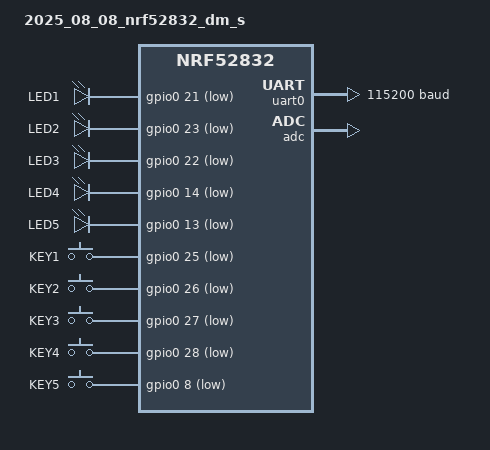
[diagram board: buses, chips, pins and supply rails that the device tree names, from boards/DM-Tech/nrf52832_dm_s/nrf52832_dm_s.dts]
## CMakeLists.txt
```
#
# Copyright (c) 2016 Intel Corporation
#
# SPDX-License-Identifier: Apache-2.0
#

cmake_minimum_required(VERSION 3.20.0)
set(BOARD_ROOT ${CMAKE_CURRENT_LIST_DIR})
find_package(Zephyr REQUIRED HINTS $ENV{ZEPHYR_BASE})
project(nrf_connect_sdk_fundamentals)

target_include_directories(app PRIVATE ${CMAKE_CURRENT_SOURCE_DIR}/include)
FILE(GLOB app_sources src/*.c)
target_sources(app PRIVATE ${app_sources})
zephyr_library_sources(Kconfig)
```

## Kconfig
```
#
# Copyright (c) 2020 Nordic Semiconductor
#
# SPDX-License-Identifier: LicenseRef-Nordic-5-Clause
#

source "Kconfig.zephyr"

menu "Enhanced ShockBurst: Transmitter"

config ESB_PTX_APP_LOG_LEVEL
	int "Log level for the ESB PTX sample"
	default 4

endmenu

menu "Custom SAADC Modes"

config HALL_MODE
    bool "Enable Hall sensor mode"
    default n
    help
      Enable this to use Hall_L and Hall_R channels for SAADC.

config CAN_MODE
    bool "Enable CAN sensor mode"
    default n
    help
      Enable this to use Can_L and Can_R channels for SAADC.

config EMG_MODE
    bool "Enable EMG sensor mode"
    default n
    help
      Enable this to use Sequence, Tibial Muscle, Gastrocnemius Muscle channels for SPI DRDY.

endmenu


choice EMG_CHANNEL_MODE
    prompt "EMG channel configuration"
    depends on EMG_MODE
    default EMG_UNILATERAL

config EMG_UNILATERAL
    bool "Unilateral EMG (ADS1294 Ch1 and Ch2)"

config EMG_BILATERAL
    bool "Bilateral EMG (ADS1294 Ch1 through Ch4)"

endchoice
```

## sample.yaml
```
sample:
  name: nRF Connect SDK Fundamentals Course - Lesson 2 Exercise 1 Solution
  
common: 
    sysbuild: true
    build_only: true
    integration_platforms: 
      - nrf52dk/nrf52832
      - nrf52833dk/nrf52833
      - nrf52840dk/nrf52840
      - nrf9160dk/nrf9160/ns
      - nrf9161dk/nrf9161/ns
      - nrf9151dk/nrf9151/ns
      - nrf5340dk/nrf5340/cpuapp
      - nrf5340dk/nrf5340/cpuapp/ns
      - nrf54l15dk/nrf54l15/cpuapp
      - nrf54l15dk/nrf54l15/cpuapp/ns
      - nrf7002dk/nrf5340/cpuapp
      - nrf7002dk/nrf5340/cpuapp/ns
      - thingy53/nrf5340/cpuapp
      - thingy53/nrf5340/cpuapp/ns
      - thingy91/nrf9160/ns
      - thingy91x/nrf9151/ns
      
    platform_exclude:
      - native_sim
    
tests:
  ncs_fund.l2.e1_sol: {}
```

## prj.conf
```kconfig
# ESB CONFIG
CONFIG_NCS_SAMPLES_DEFAULTS=y
CONFIG_ESB=y
# Payload: unilateral EMG = 24 bytes, bilateral EMG = 36 bytes.
CONFIG_ESB_MAX_PAYLOAD_LENGTH=36
CONFIG_DK_LIBRARY=y
CONFIG_CLOCK_CONTROL=y
CONFIG_ESB_MAX_PAYLOAD_LENGTH=40

# SAADC
CONFIG_ADC=n
CONFIG_NRFX_SAADC=y
CONFIG_NRFX_GPPI=y
CONFIG_NRFX_TIMER1=y

# Mode
CONFIG_HALL_MODE=y
CONFIG_CAN_MODE=y
CONFIG_EMG_MODE=y
# Select exactly one EMG mode. For bilateral, switch these two lines.
CONFIG_EMG_UNILATERAL=n
# CONFIG_EMG_BILATERAL is not set
CONFIG_EMG_BILATERAL=y

#GPIO
CONFIG_GPIO=y

# ==============================
# UART Async Binary Streaming
# ==============================
CONFIG_SERIAL=y
CONFIG_UART_ASYNC_API=y
CONFIG_NRFX_UARTE0=y   # UART0 활성화 (필요 시)

CONFIG_CONSOLE=y
CONFIG_UART_CONSOLE=y
CONFIG_STDOUT_CONSOLE=y

# =========================
# RTT Debug Log
# =========================
CONFIG_LOG=y
CONFIG_LOG_BACKEND_UART=y
CONFIG_USE_SEGGER_RTT=n
CONFIG_LOG_BACKEND_RTT=n

# Sensor 
CONFIG_SPI=y
CONFIG_SENSOR=y
```

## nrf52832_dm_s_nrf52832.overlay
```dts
&pinctrl {
    spi1_default: spi1_default {
        group1 {
            psels = <NRF_PSEL(SPIM_SCK, 0, 7)>,
                    <NRF_PSEL(SPIM_MOSI, 0, 6)>,
                    <NRF_PSEL(SPIM_MISO, 0, 16)>;
        };
    };

    spi1_sleep: spi1_sleep {
        group1 {
            psels = <NRF_PSEL(SPIM_SCK, 0, 7)>,
                    <NRF_PSEL(SPIM_MOSI, 0, 6)>,
                    <NRF_PSEL(SPIM_MISO, 0, 16)>;
            low-power-enable;
        };
    };

};

/ {
        ads1294_ctrl {
                compatible = "gpio-leds";
                ads1294_start: ads1294_start {
                        gpios = <&gpio0 18 GPIO_ACTIVE_HIGH>;
                };

                ads1294_reset_pwdn: ads1294_reset_pwdn {
                        gpios = <&gpio0 17 GPIO_ACTIVE_LOW>;
                };
        };

        ads1294_data_ready {
                compatible = "gpio-keys";
                ads1294_drdy: ads1294_drdy {
                        gpios = <&gpio0 15 GPIO_ACTIVE_LOW>;
                };
        };
};

// AFE - [ADS1294 SPI]
&spi1 {
        compatible = "nordic,nrf-spi";
        status = "okay";
        cs-gpios = <&gpio0 19 GPIO_ACTIVE_LOW>; // CS pin on P0.05
        pinctrl-0 = <&spi1_default>;
        pinctrl-1 = <&spi1_sleep>;
        pinctrl-names = "default", "sleep";
        ads1294: ads1294@0 {
                compatible = "vnd,spi-device";
                reg = <0>;
                spi-max-frequency = <1600000>;
        };
};

&uart0 {
	current-speed = <460800>;
	status = "okay";
	pinctrl-0 = <&uart0_default>;
	pinctrl-names = "default";
};
```

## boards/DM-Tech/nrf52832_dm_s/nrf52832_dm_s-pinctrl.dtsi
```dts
&pinctrl {
	uart0_default: uart0_default {
		group1 {
			psels = <NRF_PSEL(UART_TX, 0, 11)>,
			        <NRF_PSEL(UART_RX, 0, 12)>;
		};
	};
};
```

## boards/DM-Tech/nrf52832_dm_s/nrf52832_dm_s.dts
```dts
/dts-v1/;
#include <nordic/nrf52832_qfaa.dtsi>
#include "nrf52832_dm_s-pinctrl.dtsi"

 / {
	model = "2025_08_08_nrf52832_dm_s";
	compatible = "DM-Tech,nrf52832-dm-s";

	chosen {
		zephyr,sram = &sram0;
		zephyr,flash = &flash0;
		zephyr,code-partition = &slot0_partition;
		zephyr,console = &uart0;
		zephyr,shell-uart = &uart0;
	};

	aliases {
		led0 = &led1;
		led1 = &led2;
		led2 = &led3;
		led3 = &led4;
		led4 = &led5;

		sw0 = &button1;
		sw1 = &button2;
		sw2 = &button3;
		sw3 = &button4;
		sw4 = &button5;
	};

	leds {
		compatible = "gpio-leds";
		led1: led_1 {
			gpios = <&gpio0 21 GPIO_ACTIVE_LOW>;
			label = "LED1";
		};
		led2: led_2 {
			gpios = <&gpio0 23 GPIO_ACTIVE_LOW>;
			label = "LED2";
		};
		led3: led_3 {
			gpios = <&gpio0 22 GPIO_ACTIVE_LOW>;
			label = "LED3";
		};
		led4: led_4 {
			gpios = <&gpio0 14 GPIO_ACTIVE_LOW>;
			label = "LED4";
		};
		led5: led_5 {
			gpios = <&gpio0 13 GPIO_ACTIVE_LOW>;
			label = "LED5";
		};
	};

	buttons {
		compatible = "gpio-keys";

		button1: button_1 {
			gpios = <&gpio0 25 GPIO_ACTIVE_LOW>;
			label = "KEY1";
		};

		button2: button_2 {
			gpios = <&gpio0 26 GPIO_ACTIVE_LOW>;
			label = "KEY2";
		};

		button3: button_3 {
			gpios = <&gpio0 27 GPIO_ACTIVE_LOW>;
			label = "KEY3";
		};

		button4: button_4 {
			gpios = <&gpio0 28 GPIO_ACTIVE_LOW>;
			label = "KEY4";
		};

		button5: button_5 {
			gpios = <&gpio0 8 GPIO_ACTIVE_LOW>;
			label = "KEY5";
		};
	};
};

&gpio0 {
	status = "okay";
};

&uart0 {
    status = "okay";
    current-speed = <115200>;

    pinctrl-0 = <&uart0_default>;
    pinctrl-names = "default";
};

&adc {
	status = "okay";
};

&gpiote {
	status = "okay";
};

&flash0 {
	partitions {
		compatible = "fixed-partitions";
		#address-cells = <1>;
		#size-cells = <1>;

		boot_partition: partition@0 {
			label = "mcuboot";
			reg = <0x00000000 DT_SIZE_K(48)>;
		};

		slot0_partition: partition@c000 {
			label = "image-0";
			reg = <0x0000c000 DT_SIZE_K(220)>;
		};

		slot1_partition: partition@43000 {
			label = "image-1";
			reg = <0x00043000 DT_SIZE_K(220)>;
		};

		storage_partition: partition@7a000 {
			label = "storage";
			reg = <0x0007a000 DT_SIZE_K(24)>;
		};
	};
};
```

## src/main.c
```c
/*
 * Copyright (c) 2018 Nordic Semiconductor ASA
 *
 * SPDX-License-Identifier: LicenseRef-Nordic-5-Clause
 */

#include <zephyr/kernel.h>
#include <zephyr/logging/log.h>
#include <zephyr/sys/printk.h>
#include <zephyr/drivers/uart.h>

#include "adc_sample.h"
#include "esb_b.h"
#include "ads1294.h"
#include "rex_ads1294_config.h"
#include "afe_thread.h"
#include "gpio_led.h"

LOG_MODULE_REGISTER(main, LOG_LEVEL_INF);

const struct device *test_uart =
    DEVICE_DT_GET(DT_NODELABEL(uart0));

int main(void)
{
    int err;

	// HCLK 시작
	err = clocks_start();
	if (err) {
		return 0;
	}else{
        LOG_INF("HCLK Start");
    }

	// // UART 초기화
	// int rc = uart_bridge_init();
    // if (rc) {
    //     LOG_ERR("uart_bridge_init rc=%d\n", rc);
    //     return -1;  /* 실패 시 이후 경로 스킵 */
    // }else{
    //     LOG_INF("UART Bridge Init Clear");
    // }

	// ESB 초기화
	err = esb_initialize();
	if (err) {
		LOG_ERR("ESB initialization failed, err %d", err);
		return 0;
	}else{
        LOG_INF("ESB Init Clear");
    }

	/* Initialize SAADC sampling system */
	configure_timer();
	configure_saadc();
	configure_ppi();

    // Hall Sensor Look up table
    hall_lut_init();
    k_sleep(K_MSEC(500));   // CPU 낭비 방지   

	// AFE 초기화 (ADS 1294)
    LOG_INF("Rex AFE firmware start");
    err = ads1294_init(REX_ADS_ACTIVE_MODE);
    if (err < 0) {
        LOG_WRN("AFE unavailable: err=%d; continuing without AFE", err);
    }

    // AFE DRDY 감지 Thread 시작
    afe_thread_start();
    
    // 1 kHz Work Que Start Flag
    adc_streaming_start();

	tx_payload.noack = true;

    while (1) {
        k_sleep(K_SECONDS(1));
        // AFE + Que Debugging
        // LOG_INF("AFE=%u q_drop=%u q_used=%u "
        //         "under=%u seq=%u",
        //         afe_get_sample_count(),
        //         afe_get_queue_drop_count(),
        //         afe_get_queue_used(),
        //         adc_get_emg_underflow_count(),
        //         adc_get_emg_sequence_error_count());

        // ESB Debugging
        // LOG_INF("SAADC=%u ESB_WR=%u ENOMEM=%u RETRY_FAIL=%u TX_OK=%u TX_FAIL=%u",
        //         get_saadc_work_count(),
        //         get_esb_write_ok_count(),
        //         get_esb_enomem_count(),
        //         get_esb_retry_fail_count(),
        //         get_esb_tx_success_count(),
        //         get_esb_tx_failed_count());
    }
}
```

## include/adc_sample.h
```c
#pragma once

// SAADC + PPI
#include <nrfx_saadc.h>
#include <nrfx_timer.h>
#include <helpers/nrfx_gppi.h>
#include <nrfx_ppi.h>
#include <zephyr/kernel.h>
#include <zephyr/sys/printk.h>
#include <math.h> 
#include <esb_b.h>
#include <hall_sensor.h>
#include "afe_thread.h"
#include "hall_sensor.h"

/* ===========================
 * TIMER2 인스턴스 선언
 * =========================== */
#define TIMER_INSTANCE_NUMBER 1

#if defined(CONFIG_HALL_MODE) && defined(CONFIG_CAN_MODE)
#define SAADC_BUFFER_SIZE 4
#elif defined(CONFIG_HALL_MODE)
#define SAADC_BUFFER_SIZE 2
#endif

#define SAADC_SAMPLE_INTERVAL_US 1000                     // 샘플링 주기: 1000us = 1ms

#define SAADC_INPUT_PIN_1 NRF_SAADC_INPUT_AIN0            // ADC 채널 0 입력 핀
#define SAADC_INPUT_PIN_2 NRF_SAADC_INPUT_AIN3            // ADC 채널 1 입력 핀
#define SAADC_INPUT_PIN_3 NRF_SAADC_INPUT_AIN1            // ADC 채널 2 입력 핀
#define SAADC_INPUT_PIN_4 NRF_SAADC_INPUT_AIN2            // ADC 채널 3 입력 핀

#define M_PI 3.141592

/* SAADC 채널 설정 */
static nrfx_saadc_channel_t channel_Hall_L   = NRFX_SAADC_DEFAULT_CHANNEL_SE(SAADC_INPUT_PIN_1, 0);  // 채널 0 구성
static nrfx_saadc_channel_t channel_Hall_R = NRFX_SAADC_DEFAULT_CHANNEL_SE(SAADC_INPUT_PIN_2, 1);  // 채널 1 구성
static nrfx_saadc_channel_t channel_Can_L   = NRFX_SAADC_DEFAULT_CHANNEL_SE(SAADC_INPUT_PIN_3, 2);  // 채널 0 구성
static nrfx_saadc_channel_t channel_Can_R = NRFX_SAADC_DEFAULT_CHANNEL_SE(SAADC_INPUT_PIN_4, 3);  // 채널 1 구성

/* ===========================
 * SAADC 버퍼 및 데이터 저장소
 * =========================== */
void configure_ppi(void);
void configure_saadc(void);
void configure_timer(void);
void adc_streaming_start(void);

// AFE Debugging
uint32_t adc_get_emg_underflow_count(void);
uint32_t adc_get_emg_sequence_error_count(void);
uint32_t adc_get_esb_packet_count(void);
uint32_t adc_get_emg_rc1_fail_count(void);
uint32_t adc_get_emg_rc2_fail_count(void);

// ESB Debugging
uint32_t get_saadc_work_count(void);
uint32_t get_esb_write_ok_count(void);
uint32_t get_esb_enomem_count(void);
uint32_t get_esb_retry_fail_count(void);
```

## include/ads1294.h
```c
#ifndef ADS1294_H
#define ADS1294_H

#include <stdint.h>
#include <stdbool.h>
#include <zephyr/device.h>
#include <zephyr/devicetree.h>
#include <zephyr/drivers/gpio.h>
#include <zephyr/drivers/spi.h>
#include <zephyr/kernel.h>
#include <zephyr/logging/log.h>

#include "ads129x_regs.h"
#include "rex_ads1294_config.h"

#define ADS1294_STATUS_BYTES            3
#define ADS1294_BYTES_PER_CHANNEL       3
#define ADS1294_FRAME_SIZE              \
    (ADS1294_STATUS_BYTES + (REX_ADS_NUM_CHANNELS * ADS1294_BYTES_PER_CHANNEL))

#define ADS1294_SPI_OP \
    (SPI_WORD_SET(8) | SPI_TRANSFER_MSB | SPI_MODE_CPHA)

typedef struct {
    uint32_t status;
    int32_t channel[REX_ADS_NUM_CHANNELS];
    uint8_t raw[ADS1294_FRAME_SIZE];
} ads1294_data_frame_t;

int ads1294_init(uint8_t mode);
int ads1294_send_command(uint8_t opcode);
int ads1294_write_register(uint8_t address, uint8_t value);
int ads1294_read_register(uint8_t address, uint8_t *value);
int ads1294_apply_config(uint8_t mode);

int ads1294_wait_for_data(k_timeout_t timeout);
int ads1294_read_data_frame(ads1294_data_frame_t *frame);
int ads1294_read_data_frame_wait(ads1294_data_frame_t *frame, k_timeout_t timeout);

#endif /* ADS1294_H */
```

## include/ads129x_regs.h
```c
#ifndef ADS129X_REGS_H
#define ADS129X_REGS_H

#include <stdint.h>

/* ============================================================
* ADS129x SPI Command Opcodes
*
* These values are command bytes transferred on MOSI.
* They are not register addresses.
* ============================================================ */

/* System commands */
#define ADS129X_CMD_WAKEUP              0x02
#define ADS129X_CMD_STANDBY             0x04
#define ADS129X_CMD_RESET               0x06
#define ADS129X_CMD_START               0x08
#define ADS129X_CMD_STOP                0x0A

/* Data read commands */
#define ADS129X_CMD_RDATAC              0x10
#define ADS129X_CMD_SDATAC              0x11
#define ADS129X_CMD_RDATA               0x12

/* Register read/write command base opcodes */
#define ADS129X_CMD_RREG                0x20
#define ADS129X_CMD_WREG                0x40

/* Register command helpers */
#define ADS129X_CMD_RREG_ADDR(addr)     (ADS129X_CMD_RREG | ((addr) & 0x1F))
#define ADS129X_CMD_WREG_ADDR(addr)     (ADS129X_CMD_WREG | ((addr) & 0x1F))

/* ADS129x RREG/WREG second byte is number of registers minus 1 */
#define ADS129X_REG_COUNT(n)            ((uint8_t)((n) - 1u))

/* ============================================================
 * ADS129x Register Map
 * Target device: ADS1294 / ADS1296 / ADS1298 family
 * Note: ADS1294 uses CH1-CH4 only.
 * ============================================================ */

/* Device settings: Read-only */
#define ADS129X_REG_ID              0x00

/* Global settings across channels */
#define ADS129X_REG_CONFIG1         0x01
#define ADS129X_REG_CONFIG2         0x02
#define ADS129X_REG_CONFIG3         0x03
#define ADS129X_REG_LOFF            0x04

/* Channel-specific settings */
#define ADS129X_REG_CH1SET          0x05
#define ADS129X_REG_CH2SET          0x06
#define ADS129X_REG_CH3SET          0x07
#define ADS129X_REG_CH4SET          0x08
#define ADS129X_REG_CH5SET          0x09  /* Not available in ADS1294 */
#define ADS129X_REG_CH6SET          0x0A  /* Not available in ADS1294 */
#define ADS129X_REG_CH7SET          0x0B  /* Not available in ADS1294/ADS1296 */
#define ADS129X_REG_CH8SET          0x0C  /* Not available in ADS1294/ADS1296 */

/* RLD signal derivation */
#define ADS129X_REG_RLD_SENSP       0x0D
#define ADS129X_REG_RLD_SENSN       0x0E

/* Lead-off detection */
#define ADS129X_REG_LOFF_SENSP      0x0F
#define ADS129X_REG_LOFF_SENSN      0x10
#define ADS129X_REG_LOFF_FLIP       0x11

/* Lead-off status: Read-only */
#define ADS129X_REG_LOFF_STATP      0x12
#define ADS129X_REG_LOFF_STATN      0x13

/* GPIO and other registers */
#define ADS129X_REG_GPIO            0x14
#define ADS129X_REG_PACE            0x15
#define ADS129X_REG_RESP            0x16
#define ADS129X_REG_CONFIG4         0x17
#define ADS129X_REG_WCT1            0x18
#define ADS129X_REG_WCT2            0x19

/* ============================================================
 * ID Register: address 0x00, read-only
 * Used to identify ADS1294 / ADS1296 / ADS1298 device variant.
 * ============================================================ */

#define ADS129X_ID_DEV_ID_MASK      0xE0  /* Bit[7:5] */
#define ADS129X_ID_FIXED_BITS_MASK  0x18  /* Bit[4:3], expected fixed bits */
#define ADS129X_ID_CHANNEL_MASK     0x07  /* Bit[2:0], device/channel code */

/*
 * DEV_ID[2:0] lower code is used to distinguish device family.
 * Exact expected value should be checked during board bring-up.
 */

/* ============================================================
 * CONFIG1 Register: address 0x01, reset 0x06
 * Controls resolution mode, daisy-chain mode, CLK output,
 * and output data rate.
 * ============================================================ */

/* Bit 7: HR */
#define ADS129X_CONFIG1_HR_LP_MODE          0x00
#define ADS129X_CONFIG1_HR_HIGH_RES         0x80

/* Bit 6: DAISY_EN */
#define ADS129X_CONFIG1_DAISY_CHAIN         0x00
#define ADS129X_CONFIG1_MULTIPLE_READBACK   0x40

/* Bit 5: CLK_EN */
#define ADS129X_CONFIG1_CLK_OUT_DISABLE     0x00
#define ADS129X_CONFIG1_CLK_OUT_ENABLE      0x20

/* Bit[2:0]: DR[2:0], output data rate */
#define ADS129X_CONFIG1_DR_32KSPS           0x00
#define ADS129X_CONFIG1_DR_16KSPS           0x01
#define ADS129X_CONFIG1_DR_8KSPS            0x02
#define ADS129X_CONFIG1_DR_4KSPS            0x03
#define ADS129X_CONFIG1_DR_2KSPS            0x04
#define ADS129X_CONFIG1_DR_1KSPS            0x05
#define ADS129X_CONFIG1_DR_500SPS           0x06

/* ============================================================
 * CONFIG2 Register: address 0x02, reset 0x40
 * Controls internal test signal.
 * Mostly used for board bring-up and ADC/SPI verification.
 * ============================================================ */

/* Bit[7:6]: Reserved, always write 0 */
#define ADS129X_CONFIG2_RESERVED_7_6        0x00

/* Bit 5: WCT_CHOP */
#define ADS129X_CONFIG2_WCT_CHOP_OFF        0x00
#define ADS129X_CONFIG2_WCT_CHOP_ON         0x20

/* Bit 4: INT_TEST */
/* To use the internal test signal, set CHnSET.MUX[2:0] to test signal. */
#define ADS129X_CONFIG2_INT_TEST_DISABLE    0x00
#define ADS129X_CONFIG2_INT_TEST_ENABLE     0x10

/* Bit 3: Reserved, always write 0 */
#define ADS129X_CONFIG2_RESERVED_3          0x00

/* Bit 2: TEST_AMP */
#define ADS129X_CONFIG2_TEST_AMP_1MV        0x00
#define ADS129X_CONFIG2_TEST_AMP_2MV        0x04

/* Bit[1:0]: TEST_FREQ */
#define ADS129X_CONFIG2_TEST_FREQ_1HZ       0x00
#define ADS129X_CONFIG2_TEST_FREQ_2HZ       0x01
#define ADS129X_CONFIG2_TEST_FREQ_DC        0x03


/* ============================================================
 * CONFIG3 Register: address 0x03, reset 0x40
 * Controls internal reference buffer and RLD operation.
 * ============================================================ */

/* Bit 7: PD_REFBUF */
#define ADS129X_CONFIG3_REFBUF_POWER_DOWN   0x00
#define ADS129X_CONFIG3_REFBUF_ENABLE       0x80

/* Bit 6: Reserved, must be written as 1 */
#define ADS129X_CONFIG3_RESERVED_6          0x40

/* Bit 5: VREF_4V */
#define ADS129X_CONFIG3_VREF_2V4            0x00
#define ADS129X_CONFIG3_VREF_4V             0x20  /* Use only with 5 V analog supply */

/* Bit 4: RLD_MEAS */
#define ADS129X_CONFIG3_RLD_MEAS_OPEN       0x00
#define ADS129X_CONFIG3_RLD_MEAS_ENABLE     0x10

/* Bit 3: RLDREF_INT */
#define ADS129X_CONFIG3_RLDREF_EXTERNAL     0x00
#define ADS129X_CONFIG3_RLDREF_INTERNAL     0x08

/* Bit 2: PD_RLD */
#define ADS129X_CONFIG3_RLD_POWER_DOWN      0x00
#define ADS129X_CONFIG3_RLD_ENABLE          0x04

/* Bit 1: RLD_LOFF_SENS */
#define ADS129X_CONFIG3_RLD_LOFF_DISABLE    0x00
#define ADS129X_CONFIG3_RLD_LOFF_ENABLE     0x02

/* Bit 0: RLD_STAT, read-only */
#define ADS129X_CONFIG3_RLD_STAT_MASK       0x01


/* ============================================================
 * LOFF Register: 0x04
 * Lead-off detection configuration
 * ============================================================ */
#define ADS129X_LOFF_COMP_TH_95_5       0x00
#define ADS129X_LOFF_COMP_TH_92P5_7P5   0x20
#define ADS129X_LOFF_COMP_TH_90_10      0x40
#define ADS129X_LOFF_COMP_TH_87P5_12P5  0x60
#define ADS129X_LOFF_COMP_TH_85_15      0x80
#define ADS129X_LOFF_COMP_TH_80_20      0xA0
#define ADS129X_LOFF_COMP_TH_75_25      0xC0
#define ADS129X_LOFF_COMP_TH_70_30      0xE0

#define ADS129X_LOFF_VLEAD_OFF_CURRENT_SOURCE  0x00
#define ADS129X_LOFF_VLEAD_OFF_PULLUPDOWN      0x10

#define ADS129X_LOFF_CURRENT_6NA        0x00
#define ADS129X_LOFF_CURRENT_12NA       0x04
#define ADS129X_LOFF_CURRENT_18NA       0x08
#define ADS129X_LOFF_CURRENT_24NA       0x0C

#define ADS129X_LOFF_FREQ_INVALID_WHEN_LOFF_ON  0x00
#define ADS129X_LOFF_FREQ_AC_FDR_DIV4   0x01
#define ADS129X_LOFF_FREQ_DO_NOT_USE    0x02
#define ADS129X_LOFF_FREQ_DC            0x03

/* ============================================================
 * CHnSET Registers: CH1 0x05 ~ CH8 0x0C
 * ADS1294 uses CH1~CH4 only.
 *
 * Bit7   : PDn
 * Bit6:4 : GAINn[2:0]
 * Bit3   : Reserved, always write 0
 * Bit2:0 : MUXn[2:0]
 * ============================================================ */
#define ADS129X_CHSET_POWER_ON          0x00
#define ADS129X_CHSET_POWER_DOWN        0x80

#define ADS129X_CHSET_GAIN_6            0x00
#define ADS129X_CHSET_GAIN_1            0x10
#define ADS129X_CHSET_GAIN_2            0x20
#define ADS129X_CHSET_GAIN_3            0x30
#define ADS129X_CHSET_GAIN_4            0x40
#define ADS129X_CHSET_GAIN_8            0x50
#define ADS129X_CHSET_GAIN_12           0x60

#define ADS129X_CHSET_RESERVED_0        0x00  /* Bit3: always write 0 */
#define ADS129X_CHSET_MUX_NORMAL        0x00
#define ADS129X_CHSET_MUX_SHORTED       0x01
#define ADS129X_CHSET_MUX_RLD_MEAS      0x02
#define ADS129X_CHSET_MUX_MVDD          0x03
#define ADS129X_CHSET_MUX_TEMP          0x04
#define ADS129X_CHSET_MUX_TEST_SIGNAL   0x05
#define ADS129X_CHSET_MUX_RLD_DRP       0x06
#define ADS129X_CHSET_MUX_RLD_DRN       0x07

/* ============================================================
 * RLD_SENSP Register: 0x0D
 * RLD Positive Signal Derivation Register
 *
 * Bit7:0 : RLD8P ~ RLD1P
 * 0 = Disabled
 * 1 = Enabled
 *
 * Note:
 * ADS1294: bits[7:4] are not available.
 * ADS1296: bits[7:6] are not available.
 * ============================================================ */
#define ADS129X_RLD_SENSP_RLD1P         0x01
#define ADS129X_RLD_SENSP_RLD2P         0x02
#define ADS129X_RLD_SENSP_RLD3P         0x04
#define ADS129X_RLD_SENSP_RLD4P         0x08
#define ADS129X_RLD_SENSP_RLD5P         0x10
#define ADS129X_RLD_SENSP_RLD6P         0x20
#define ADS129X_RLD_SENSP_RLD7P         0x40
#define ADS129X_RLD_SENSP_RLD8P         0x80

/* ============================================================
 * RLD_SENSN Register: 0x0E
 * RLD Negative Signal Derivation Register
 *
 * Bit7:0 : RLD8N ~ RLD1N
 * 0 = Disabled
 * 1 = Enabled
 *
 * Note:
 * ADS1294: bits[7:4] are not available.
 * ADS1296: bits[7:6] are not available.
 * ============================================================ */
#define ADS129X_RLD_SENSN_RLD1N         0x01
#define ADS129X_RLD_SENSN_RLD2N         0x02
#define ADS129X_RLD_SENSN_RLD3N         0x04
#define ADS129X_RLD_SENSN_RLD4N         0x08
#define ADS129X_RLD_SENSN_RLD5N         0x10
#define ADS129X_RLD_SENSN_RLD6N         0x20
#define ADS129X_RLD_SENSN_RLD7N         0x40
#define ADS129X_RLD_SENSN_RLD8N         0x80

/* ============================================================
 * LOFF_SENSP Register: 0x0F
 * Positive Signal Lead-Off Detection Register
 *
 * Bit7:0 : LOFF8P ~ LOFF1P
 * 0 = Disabled
 * 1 = Enabled
 *
 * Note:
 * LOFF_STATP bits are valid only when corresponding LOFF_SENSP
 * bits are set to 1.
 * ADS1294: bits[7:4] are not available.
 * ADS1296: bits[7:6] are not available.
 * ============================================================ */
#define ADS129X_LOFF_SENSP_LOFF1P       0x01
#define ADS129X_LOFF_SENSP_LOFF2P       0x02
#define ADS129X_LOFF_SENSP_LOFF3P       0x04
#define ADS129X_LOFF_SENSP_LOFF4P       0x08
#define ADS129X_LOFF_SENSP_LOFF5P       0x10
#define ADS129X_LOFF_SENSP_LOFF6P       0x20
#define ADS129X_LOFF_SENSP_LOFF7P       0x40
#define ADS129X_LOFF_SENSP_LOFF8P       0x80

/* ============================================================
 * LOFF_SENSN Register: 0x10
 * Negative Signal Lead-Off Detection Register
 *
 * Bit7:0 : LOFF8N ~ LOFF1N
 * 0 = Disabled
 * 1 = Enabled
 *
 * Note:
 * LOFF_STATN bits are valid only when corresponding LOFF_SENSN
 * bits are set to 1.
 * ADS1294: bits[7:4] are not available.
 * ADS1296: bits[7:6] are not available.
 * ============================================================ */
#define ADS129X_LOFF_SENSN_LOFF1N       0x01
#define ADS129X_LOFF_SENSN_LOFF2N       0x02
#define ADS129X_LOFF_SENSN_LOFF3N       0x04
#define ADS129X_LOFF_SENSN_LOFF4N       0x08
#define ADS129X_LOFF_SENSN_LOFF5N       0x10
#define ADS129X_LOFF_SENSN_LOFF6N       0x20
#define ADS129X_LOFF_SENSN_LOFF7N       0x40
#define ADS129X_LOFF_SENSN_LOFF8N       0x80

/* ============================================================
 * LOFF_FLIP Register: 0x11
 * Lead-Off Flip Register
 *
 * Bit7:0 : LOFF_FLIP8 ~ LOFF_FLIP1
 * 0 = No flip
 * 1 = Flip pull-up / pull-down polarity
 *
 * Note:
 * ADS1294: bits[7:4] are not available.
 * ADS1296: bits[7:6] are not available.
 * ============================================================ */
#define ADS129X_LOFF_FLIP1              0x01
#define ADS129X_LOFF_FLIP2              0x02
#define ADS129X_LOFF_FLIP3              0x04
#define ADS129X_LOFF_FLIP4              0x08
#define ADS129X_LOFF_FLIP5              0x10
#define ADS129X_LOFF_FLIP6              0x20
#define ADS129X_LOFF_FLIP7              0x40
#define ADS129X_LOFF_FLIP8              0x80

/* ============================================================
 * LOFF_STATP Register: 0x12, Read Only
 * Positive Lead-Off Status Register
 *
 * Bit7:0 : IN8P_OFF ~ IN1P_OFF
 * 0 = Electrode connected
 * 1 = Electrode disconnected
 * ============================================================ */
#define ADS129X_LOFF_STATP_IN1P_OFF     0x01
#define ADS129X_LOFF_STATP_IN2P_OFF     0x02
#define ADS129X_LOFF_STATP_IN3P_OFF     0x04
#define ADS129X_LOFF_STATP_IN4P_OFF     0x08
#define ADS129X_LOFF_STATP_IN5P_OFF     0x10
#define ADS129X_LOFF_STATP_IN6P_OFF     0x20
#define ADS129X_LOFF_STATP_IN7P_OFF     0x40
#define ADS129X_LOFF_STATP_IN8P_OFF     0x80

/* ============================================================
 * LOFF_STATN Register: 0x13, Read Only
 * Negative Lead-Off Status Register
 *
 * Bit7:0 : IN8N_OFF ~ IN1N_OFF
 * 0 = Electrode connected
 * 1 = Electrode disconnected
 * ============================================================ */
#define ADS129X_LOFF_STATN_IN1N_OFF     0x01
#define ADS129X_LOFF_STATN_IN2N_OFF     0x02
#define ADS129X_LOFF_STATN_IN3N_OFF     0x04
#define ADS129X_LOFF_STATN_IN4N_OFF     0x08
#define ADS129X_LOFF_STATN_IN5N_OFF     0x10
#define ADS129X_LOFF_STATN_IN6N_OFF     0x20
#define ADS129X_LOFF_STATN_IN7N_OFF     0x40
#define ADS129X_LOFF_STATN_IN8N_OFF     0x80

/* ============================================================
 * GPIO Register: 0x14
 *
 * Bit7:4 : GPIOD[4:1], GPIO data
 * Bit3:0 : GPIOC[4:1], GPIO control
 *
 * GPIOC bit:
 * 0 = Output
 * 1 = Input
 * ============================================================ */
#define ADS129X_GPIO_GPIOD1             0x10
#define ADS129X_GPIO_GPIOD2             0x20
#define ADS129X_GPIO_GPIOD3             0x40
#define ADS129X_GPIO_GPIOD4             0x80

#define ADS129X_GPIO_GPIOC1_INPUT       0x01
#define ADS129X_GPIO_GPIOC2_INPUT       0x02
#define ADS129X_GPIO_GPIOC3_INPUT       0x04
#define ADS129X_GPIO_GPIOC4_INPUT       0x08

#define ADS129X_GPIO_GPIOC1_OUTPUT      0x00
#define ADS129X_GPIO_GPIOC2_OUTPUT      0x00
#define ADS129X_GPIO_GPIOC3_OUTPUT      0x00
#define ADS129X_GPIO_GPIOC4_OUTPUT      0x00

/* ============================================================
 * PACE Register: 0x15
 *
 * Bit7:5 : Reserved, always write 0
 * Bit4:3 : PACEE[1:0], pace even channel selection
 * Bit2:1 : PACEO[1:0], pace odd channel selection
 * Bit0   : PD_PACE
 * ============================================================ */
#define ADS129X_PACE_RESERVED_0         0x00

#define ADS129X_PACE_PACEE_CH2          0x00
#define ADS129X_PACE_PACEE_CH4          0x08
#define ADS129X_PACE_PACEE_CH6          0x10
#define ADS129X_PACE_PACEE_CH8          0x18

#define ADS129X_PACE_PACEO_CH1          0x00
#define ADS129X_PACE_PACEO_CH3          0x02
#define ADS129X_PACE_PACEO_CH5          0x04
#define ADS129X_PACE_PACEO_CH7          0x06

#define ADS129X_PACE_BUFFER_OFF         0x00
#define ADS129X_PACE_BUFFER_ON          0x01

/* ============================================================
 * RESP Register: 0x16
 *
 * Bit7   : RESP_DEMOD_EN1
 * Bit6   : RESP_MOD_EN1
 * Bit5   : Reserved, always write 1
 * Bit4:2 : RESP_PH[2:0]
 * Bit1:0 : RESP_CTRL[1:0]
 *
 * Note:
 * RESP_DEMOD_EN1 and RESP_MOD_EN1 are ADS129xR-only.
 * For ADS129x, always write these bits as 0.
 * Register reset is 0x00, but bit5 must be written as 1 during register writes.
 * ============================================================ */
#define ADS129X_RESP_DEMOD_OFF          0x00
#define ADS129X_RESP_DEMOD_ON           0x80

#define ADS129X_RESP_MOD_OFF            0x00
#define ADS129X_RESP_MOD_ON             0x40

#define ADS129X_RESP_RESERVED_1         0x20

#define ADS129X_RESP_PHASE_22P5         0x00
#define ADS129X_RESP_PHASE_45           0x04
#define ADS129X_RESP_PHASE_67P5         0x08
#define ADS129X_RESP_PHASE_90           0x0C
#define ADS129X_RESP_PHASE_112P5        0x10
#define ADS129X_RESP_PHASE_135          0x14
#define ADS129X_RESP_PHASE_157P5        0x18

#define ADS129X_RESP_CTRL_NONE          0x00
#define ADS129X_RESP_CTRL_EXTERNAL      0x01
#define ADS129X_RESP_CTRL_INTERNAL      0x02
#define ADS129X_RESP_CTRL_USER          0x03

/* ============================================================
 * CONFIG4 Register: 0x17
 *
 * Bit7:5 : RESP_FREQ[2:0]
 * Bit4   : Reserved, always write 0
 * Bit3   : SINGLE_SHOT
 * Bit2   : WCT_TO_RLD
 * Bit1   : PD_LOFF_COMP
 * Bit0   : Reserved, always write 0
 * ============================================================ */
#define ADS129X_CONFIG4_RESP_FREQ_64KHZ     0x00
#define ADS129X_CONFIG4_RESP_FREQ_32KHZ     0x20
#define ADS129X_CONFIG4_RESP_FREQ_16KHZ     0x40
#define ADS129X_CONFIG4_RESP_FREQ_8KHZ      0x60
#define ADS129X_CONFIG4_RESP_FREQ_4KHZ      0x80
#define ADS129X_CONFIG4_RESP_FREQ_2KHZ      0xA0
#define ADS129X_CONFIG4_RESP_FREQ_1KHZ      0xC0
#define ADS129X_CONFIG4_RESP_FREQ_500HZ     0xE0

#define ADS129X_CONFIG4_RESERVED_4_0        0x00
#define ADS129X_CONFIG4_CONTINUOUS          0x00
#define ADS129X_CONFIG4_SINGLE_SHOT         0x08

#define ADS129X_CONFIG4_WCT_TO_RLD_OFF      0x00
#define ADS129X_CONFIG4_WCT_TO_RLD_ON       0x04

#define ADS129X_CONFIG4_LOFF_COMP_OFF       0x00
#define ADS129X_CONFIG4_LOFF_COMP_ON        0x02

#define ADS129X_CONFIG4_RESERVED_0_0        0x00

/* ============================================================
 * WCT1 Register: 0x18
 * Wilson Central Terminal and Augmented Lead Control Register
 *
 * Bit7   : aVF_CH6
 * Bit6   : aVL_CH5
 * Bit5   : aVR_CH7
 * Bit4   : aVR_CH4
 * Bit3   : PD_WCTA
 * Bit2:0 : WCTA[2:0]
 * ============================================================ */
#define ADS129X_WCT1_AVF_CH6_DISABLE    0x00
#define ADS129X_WCT1_AVF_CH6_ENABLE     0x80

#define ADS129X_WCT1_AVL_CH5_DISABLE    0x00
#define ADS129X_WCT1_AVL_CH5_ENABLE     0x40

#define ADS129X_WCT1_AVR_CH7_DISABLE    0x00
#define ADS129X_WCT1_AVR_CH7_ENABLE     0x20

#define ADS129X_WCT1_AVR_CH4_DISABLE    0x00
#define ADS129X_WCT1_AVR_CH4_ENABLE     0x10

#define ADS129X_WCT1_WCTA_POWER_DOWN    0x00
#define ADS129X_WCT1_WCTA_POWER_ON      0x08

#define ADS129X_WCT1_WCTA_CH1P          0x00
#define ADS129X_WCT1_WCTA_CH1N          0x01
#define ADS129X_WCT1_WCTA_CH2P          0x02
#define ADS129X_WCT1_WCTA_CH2N          0x03
#define ADS129X_WCT1_WCTA_CH3P          0x04
#define ADS129X_WCT1_WCTA_CH3N          0x05
#define ADS129X_WCT1_WCTA_CH4P          0x06
#define ADS129X_WCT1_WCTA_CH4N          0x07

/* ============================================================
 * WCT2 Register: 0x19
 * Wilson Central Terminal Control Register
 *
 * Bit7   : PD_WCTC
 * Bit6   : PD_WCTB
 * Bit5:3 : WCTB[2:0]
 * Bit2:0 : WCTC[2:0]
 * ============================================================ */
#define ADS129X_WCT2_WCTC_POWER_DOWN    0x00
#define ADS129X_WCT2_WCTC_POWER_ON      0x80

#define ADS129X_WCT2_WCTB_POWER_DOWN    0x00
#define ADS129X_WCT2_WCTB_POWER_ON      0x40

#define ADS129X_WCT2_WCTB_CH1P          0x00
#define ADS129X_WCT2_WCTB_CH1N          0x08
#define ADS129X_WCT2_WCTB_CH2P          0x10
#define ADS129X_WCT2_WCTB_CH2N          0x18
#define ADS129X_WCT2_WCTB_CH3P          0x20
#define ADS129X_WCT2_WCTB_CH3N          0x28
#define ADS129X_WCT2_WCTB_CH4P          0x30
#define ADS129X_WCT2_WCTB_CH4N          0x38

#define ADS129X_WCT2_WCTC_CH1P          0x00
#define ADS129X_WCT2_WCTC_CH1N          0x01
#define ADS129X_WCT2_WCTC_CH2P          0x02
#define ADS129X_WCT2_WCTC_CH2N          0x03
#define ADS129X_WCT2_WCTC_CH3P          0x04
#define ADS129X_WCT2_WCTC_CH3N          0x05
#define ADS129X_WCT2_WCTC_CH4P          0x06
#define ADS129X_WCT2_WCTC_CH4N          0x07


#endif /* ADS129X_REGS_H */
```

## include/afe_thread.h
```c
#ifndef AFE_THREAD_H
#define AFE_THREAD_H

#include <stdint.h>
#include <zephyr/kernel.h>
#include <uart_bridge.h>

typedef struct {
    uint32_t sequence;
    int32_t ch1_l_tibialis;
    int32_t ch2_l_gastrocnemius;
#if defined(CONFIG_EMG_BILATERAL)
    int32_t ch3_r_tibialis;
    int32_t ch4_r_gastrocnemius;
#endif
} emg_sample_t;

void afe_thread_start(void);
int afe_thread_get_sample(emg_sample_t *sample, k_timeout_t timeout);

uint32_t afe_get_sample_count(void);
uint32_t afe_get_read_error_count(void);
uint32_t afe_get_queue_drop_count(void);
uint32_t afe_get_queue_used(void);

#endif /* AFE_THREAD_H */
```

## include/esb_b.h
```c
#pragma once

#include <zephyr/drivers/clock_control.h>
#include <zephyr/drivers/clock_control/nrf_clock_control.h>
#if defined(NRF54L15_XXAA)
#include <hal/nrf_clock.h>
#endif /* defined(NRF54L15_XXAA) */
#include <zephyr/drivers/gpio.h>
#include <zephyr/irq.h>
#include <zephyr/logging/log.h>
#include <nrf.h>
#include <esb.h>
#include <stdint.h>
#include <limits.h>
#include <zephyr/device.h>
#include <zephyr/devicetree.h>
#include <zephyr/kernel.h>
#include <zephyr/types.h>
#include <dk_buttons_and_leds.h>
#include <afe_thread.h>
#if defined(CONFIG_CLOCK_CONTROL_NRF2)
#include <hal/nrf_lrcconf.h>
#endif

// Nordic Radio Hardware Shortcuts 설정 - 특정 이벤트 발생 시, 자동으로 다른 태스크 실행하도록 묶는 기능
#define _RADIO_SHORTS_COMMON                                                   \
	(RADIO_SHORTS_READY_START_Msk | RADIO_SHORTS_END_DISABLE_Msk |         \
	 RADIO_SHORTS_ADDRESS_RSSISTART_Msk |                                  \
	 RADIO_SHORTS_DISABLED_RSSISTOP_Msk)

// Two consecutive time samples per packet, raw signed 24-bit EMG.
// 12-byte header followed by left EMG, then right EMG in bilateral mode.
#if defined(CONFIG_EMG_BILATERAL)
#define SENSOR_PAYLOAD_LEN (12 + 12 + 12)
#else
#define SENSOR_PAYLOAD_LEN (12 + 12)
#endif

#if SENSOR_PAYLOAD_LEN > CONFIG_ESB_MAX_PAYLOAD_LENGTH
#error "ESB buffer is too small for the selected EMG mode"
#endif

#define PAYLOAD_FLAG_EMG_UNDERFLOW      BIT(0)
#define PAYLOAD_FLAG_EMG_SEQUENCE_ERROR BIT(1)

// 수신된 buffer를 저장하는 버퍼 - ESP API가 제공하는 기본 payload 구조체
extern struct esb_payload rx_payload;
extern struct esb_payload tx_payload;
extern bool ready;

void make_payload(int16_t left_angle, int16_t right_angle, int16_t left_torque, int16_t right_torque);
void make_payload_emg(int16_t left_angle,
                      int16_t right_angle,
                      int16_t left_torque,
                      int16_t right_torque,
					  uint8_t flags,
                      const emg_sample_t *emg1,
                      const emg_sample_t *emg2);

int clocks_start(void);
int esb_initialize(void);

uint32_t get_esb_tx_success_count(void);
uint32_t get_esb_tx_failed_count(void);
```

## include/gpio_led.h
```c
#pragma once
#include <zephyr/devicetree.h>
#include <zephyr/drivers/gpio.h>

/* ============================================
 * GPIO LED Blink Module
 * ============================================ */

/* LED 노드 정의 (DeviceTree의 led2 alias 사용) */
#define LED0_NODE DT_ALIAS(led0)

#define HAS_LED        1
#define BLINK_INTERVAL K_MSEC(1000)   // 500 ms 주기로 깜빡임

#define STATE_CONNECTED    1U
#define STATE_DISCONNECTED 2U

// ATOMIC_DEFINE(state, 2U);

extern const struct gpio_dt_spec led;

int blink_setup(void);
void blink_start(void);
void blink_stop(void);
```

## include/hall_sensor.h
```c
/*
 * hall_sensor.h
 *
 *  Created on: Nov 20, 2024
 *      Author: qoxmf
 */
#pragma once

#ifndef INC_HALL_SENSOR_H_
#define INC_HALL_SENSOR_H_
#include <stdint.h>
#include <math.h>
#include <stdbool.h>
#include <stddef.h>
#include <stdlib.h>

#include <hall_sensor_table.h>

// Hall Sensor - Distance - 1.75 mm
#define Vmax_HALL_AP 4096.0   // ADC MAX
#define Vmin_HALL_AP 120.0   // ADC MIN

#define PI 3.14159265358979323846
#define NUM_SAMPLES 500
#define HALL_OFFSET_RIGHT 0.0
#define HALL_OFFSET_LEFT  0.0
#define Hall_Bias 0.0
#define TARGET_ZERO_ANGLE_Ap 0.0  // Desired zero position in degrees
#define TARGET_ZERO_ANGLE_An 90.0  // Desired zero position in degrees
#define HALL_ADC_MAX 4096

#define LEFT_EXOSHOE_CHAR   'H'
#define RIGHT_EXOSHOE_CHAR  'S'

extern float Vamp_left;
extern float Vamp_right;

extern float Ap_avg;
extern float Ap_sum;
extern int16_t sample_count_hall;

extern float An;
extern float Ap;

float Norm_func(uint16_t measured_value, char exo_type_char);
float rad2deg(float radian);
float deg2rad(float degree);
float Norm_ADC(uint16_t adc, char exo_type_char);
void calculate_MB(float A_iA, float A_iB, float A_cA, float A_cB, float *M, float *B);
void process_ADC_value(float Ap);
float calibrate_angle_char(uint16_t adc, char exo_type_char);
void hall_lut_init(void);

extern int16_t hall_lut_left[HALL_ADC_MAX];
extern int16_t hall_lut_right[HALL_ADC_MAX];

#endif /* INC_HALL_SENSOR_H_ */
```

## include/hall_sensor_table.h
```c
#ifndef HALL_SENSOR_TABLE_H
#define HALL_SENSOR_TABLE_H

typedef struct {
    char id;                  // 모델 문자
    const float* measured;
    const float* hall;
    int size;
    int Vmax_HALL_ADC;
    int Vmin_HALL_ADC;
} HallModelTable;

extern const HallModelTable hall_models[];
extern const int hall_model_count;

#endif
```

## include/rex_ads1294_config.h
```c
#ifndef REX_ADS1294_CONFIG_H
#define REX_ADS1294_CONFIG_H

#include <stdint.h>
#include <stddef.h>
#include "ads129x_regs.h"

/* ============================================================
 * Device Selection
 * ============================================================ */
#define REX_ADS_DEVICE_ADS1294          1
#define REX_ADS_NUM_CHANNELS            4
#define REX_ADS1294_EXPECTED_ID 0x90

/* ============================================================
 * REX ADS129x Mode Selection
 * ============================================================ */
#define REX_ADS_MODE_NORMAL             0
#define REX_ADS_MODE_TEST_SIGNAL        1
#define REX_ADS_MODE_LEADOFF_CHECK      2
#define REX_ADS_MODE_RLD_RECORDING      3

#define REX_ADS_ACTIVE_MODE             REX_ADS_MODE_TEST_SIGNAL

typedef struct {
    uint8_t address;
    uint8_t value;
} rex_ads129x_reg_config_t;

/* ============================================================
 * Normal Recording Mode
 * User-editable register values
 * ============================================================ */
static const rex_ads129x_reg_config_t rex_ads_normal_config[] = {
    { ADS129X_REG_CONFIG1,
      ADS129X_CONFIG1_HR_HIGH_RES |
      ADS129X_CONFIG1_MULTIPLE_READBACK |
      ADS129X_CONFIG1_CLK_OUT_DISABLE |
      ADS129X_CONFIG1_DR_2KSPS },

    { ADS129X_REG_CONFIG2,
      ADS129X_CONFIG2_RESERVED_7_6 |
      ADS129X_CONFIG2_INT_TEST_DISABLE },

    { ADS129X_REG_CONFIG3,
      ADS129X_CONFIG3_REFBUF_ENABLE |
      ADS129X_CONFIG3_RESERVED_6 |
      ADS129X_CONFIG3_VREF_2V4 |
      ADS129X_CONFIG3_RLD_POWER_DOWN },

    { ADS129X_REG_LOFF, 0x00 },

    { ADS129X_REG_CH1SET,
      ADS129X_CHSET_POWER_ON |
      ADS129X_CHSET_GAIN_4 |
      ADS129X_CHSET_RESERVED_0 |
      ADS129X_CHSET_MUX_NORMAL },

    { ADS129X_REG_CH2SET,
      ADS129X_CHSET_POWER_ON |
      ADS129X_CHSET_GAIN_4 |
      ADS129X_CHSET_RESERVED_0 |
      ADS129X_CHSET_MUX_NORMAL },

    { ADS129X_REG_CH3SET,
#if defined(CONFIG_EMG_BILATERAL)
      ADS129X_CHSET_POWER_ON |
      ADS129X_CHSET_GAIN_4 |
      ADS129X_CHSET_RESERVED_0 |
      ADS129X_CHSET_MUX_NORMAL
#else
      ADS129X_CHSET_POWER_DOWN |
      ADS129X_CHSET_GAIN_4 |
      ADS129X_CHSET_RESERVED_0 |
      ADS129X_CHSET_MUX_SHORTED
#endif
 },

    { ADS129X_REG_CH4SET,
#if defined(CONFIG_EMG_BILATERAL)
      ADS129X_CHSET_POWER_ON |
      ADS129X_CHSET_GAIN_4 |
      ADS129X_CHSET_RESERVED_0 |
      ADS129X_CHSET_MUX_NORMAL
#else
      ADS129X_CHSET_POWER_DOWN |
      ADS129X_CHSET_GAIN_4 |
      ADS129X_CHSET_RESERVED_0 |
      ADS129X_CHSET_MUX_SHORTED
#endif
 },

    { ADS129X_REG_RLD_SENSP,  0x00 },
    { ADS129X_REG_RLD_SENSN,  0x00 },
    { ADS129X_REG_LOFF_SENSP, 0x00 },
    { ADS129X_REG_LOFF_SENSN, 0x00 },
    { ADS129X_REG_LOFF_FLIP,  0x00 },
    { ADS129X_REG_GPIO,       0x0F },
    { ADS129X_REG_PACE,       0x00 },
    { ADS129X_REG_RESP,       ADS129X_RESP_RESERVED_1 },
    { ADS129X_REG_CONFIG4,    0x00 },
    { ADS129X_REG_WCT1,       0x00 },
    { ADS129X_REG_WCT2,       0x00 },
};

/* ============================================================
 * Internal Test Signal Mode
 * User-editable register values
 * ============================================================ */
static const rex_ads129x_reg_config_t rex_ads_test_signal_config[] = {
    { ADS129X_REG_CONFIG1,
      ADS129X_CONFIG1_HR_HIGH_RES |
      ADS129X_CONFIG1_MULTIPLE_READBACK |
      ADS129X_CONFIG1_CLK_OUT_DISABLE |
      ADS129X_CONFIG1_DR_2KSPS },

    { ADS129X_REG_CONFIG2,
      ADS129X_CONFIG2_RESERVED_7_6 |
      ADS129X_CONFIG2_INT_TEST_ENABLE |
      ADS129X_CONFIG2_TEST_AMP_2MV |
      ADS129X_CONFIG2_TEST_FREQ_2HZ },

    { ADS129X_REG_CONFIG3,
      ADS129X_CONFIG3_REFBUF_ENABLE |
      ADS129X_CONFIG3_RESERVED_6 |
      ADS129X_CONFIG3_VREF_2V4 },

    { ADS129X_REG_LOFF, 0x00 },

    { ADS129X_REG_CH1SET,
      ADS129X_CHSET_POWER_ON |
      ADS129X_CHSET_GAIN_12 |
      ADS129X_CHSET_RESERVED_0 |
      ADS129X_CHSET_MUX_TEST_SIGNAL },

    { ADS129X_REG_CH2SET,
      ADS129X_CHSET_POWER_ON |
      ADS129X_CHSET_GAIN_12 |
      ADS129X_CHSET_RESERVED_0 |
      ADS129X_CHSET_MUX_TEST_SIGNAL },

    { ADS129X_REG_CH3SET,
#if defined(CONFIG_EMG_BILATERAL)
      ADS129X_CHSET_POWER_ON |
      ADS129X_CHSET_GAIN_12 |
      ADS129X_CHSET_RESERVED_0 |
      ADS129X_CHSET_MUX_TEST_SIGNAL
#else
      ADS129X_CHSET_POWER_DOWN |
      ADS129X_CHSET_GAIN_12 |
      ADS129X_CHSET_RESERVED_0 |
      ADS129X_CHSET_MUX_SHORTED
#endif
 },

    { ADS129X_REG_CH4SET,
#if defined(CONFIG_EMG_BILATERAL)
      ADS129X_CHSET_POWER_ON |
      ADS129X_CHSET_GAIN_12 |
      ADS129X_CHSET_RESERVED_0 |
      ADS129X_CHSET_MUX_TEST_SIGNAL
#else
      ADS129X_CHSET_POWER_DOWN |
      ADS129X_CHSET_GAIN_12 |
      ADS129X_CHSET_RESERVED_0 |
      ADS129X_CHSET_MUX_SHORTED
#endif
 },

    { ADS129X_REG_RLD_SENSP,  0x00 },
    { ADS129X_REG_RLD_SENSN,  0x00 },
    { ADS129X_REG_LOFF_SENSP, 0x00 },
    { ADS129X_REG_LOFF_SENSN, 0x00 },
    { ADS129X_REG_LOFF_FLIP,  0x00 },
    { ADS129X_REG_GPIO,       0x0F },
    { ADS129X_REG_PACE,       0x00 },
    { ADS129X_REG_RESP,       ADS129X_RESP_RESERVED_1 },
    { ADS129X_REG_CONFIG4,    0x00 },
    { ADS129X_REG_WCT1,       0x00 },
    { ADS129X_REG_WCT2,       0x00 },
};

/* ============================================================
 * Lead-Off Check Mode
 * User-editable register values
 * ============================================================ */
static const rex_ads129x_reg_config_t rex_ads_leadoff_check_config[] = {
    { ADS129X_REG_CONFIG1,
      ADS129X_CONFIG1_HR_HIGH_RES |
      ADS129X_CONFIG1_MULTIPLE_READBACK |
      ADS129X_CONFIG1_CLK_OUT_DISABLE |
      ADS129X_CONFIG1_DR_2KSPS },

    { ADS129X_REG_CONFIG2,
      ADS129X_CONFIG2_RESERVED_7_6 |
      ADS129X_CONFIG2_INT_TEST_DISABLE },

    { ADS129X_REG_CONFIG3,
      ADS129X_CONFIG3_REFBUF_ENABLE |
      ADS129X_CONFIG3_RESERVED_6 |
      ADS129X_CONFIG3_VREF_2V4 },

    { ADS129X_REG_LOFF,
      ADS129X_LOFF_COMP_TH_95_5 |
      ADS129X_LOFF_VLEAD_OFF_CURRENT_SOURCE |
      ADS129X_LOFF_CURRENT_6NA |
      ADS129X_LOFF_FREQ_DC },

    { ADS129X_REG_CH1SET,
      ADS129X_CHSET_POWER_ON |
      ADS129X_CHSET_GAIN_6 |
      ADS129X_CHSET_RESERVED_0 |
      ADS129X_CHSET_MUX_NORMAL },

    { ADS129X_REG_CH2SET,
      ADS129X_CHSET_POWER_ON |
      ADS129X_CHSET_GAIN_6 |
      ADS129X_CHSET_RESERVED_0 |
      ADS129X_CHSET_MUX_NORMAL },

    { ADS129X_REG_CH3SET,
#if defined(CONFIG_EMG_BILATERAL)
      ADS129X_CHSET_POWER_ON |
      ADS129X_CHSET_GAIN_6 |
      ADS129X_CHSET_RESERVED_0 |
      ADS129X_CHSET_MUX_NORMAL
#else
      ADS129X_CHSET_POWER_DOWN |
      ADS129X_CHSET_GAIN_6 |
      ADS129X_CHSET_RESERVED_0 |
      ADS129X_CHSET_MUX_SHORTED
#endif
 },

    { ADS129X_REG_CH4SET,
#if defined(CONFIG_EMG_BILATERAL)
      ADS129X_CHSET_POWER_ON |
      ADS129X_CHSET_GAIN_6 |
      ADS129X_CHSET_RESERVED_0 |
      ADS129X_CHSET_MUX_NORMAL
#else
      ADS129X_CHSET_POWER_DOWN |
      ADS129X_CHSET_GAIN_6 |
      ADS129X_CHSET_RESERVED_0 |
      ADS129X_CHSET_MUX_SHORTED
#endif
 },

    { ADS129X_REG_LOFF_SENSP,
      ADS129X_LOFF_SENSP_LOFF1P |
      ADS129X_LOFF_SENSP_LOFF2P
#if defined(CONFIG_EMG_BILATERAL)
      | ADS129X_LOFF_SENSP_LOFF3P
      | ADS129X_LOFF_SENSP_LOFF4P
#endif
    },

    { ADS129X_REG_LOFF_SENSN,
      ADS129X_LOFF_SENSN_LOFF1N |
      ADS129X_LOFF_SENSN_LOFF2N
#if defined(CONFIG_EMG_BILATERAL)
      | ADS129X_LOFF_SENSN_LOFF3N
      | ADS129X_LOFF_SENSN_LOFF4N
#endif
    },

    { ADS129X_REG_LOFF_FLIP, 0x00 },
    { ADS129X_REG_GPIO,      0x0F },
    { ADS129X_REG_PACE,      0x00 },
    { ADS129X_REG_RESP,      ADS129X_RESP_RESERVED_1 },
    { ADS129X_REG_CONFIG4,   ADS129X_CONFIG4_LOFF_COMP_ON },
    { ADS129X_REG_WCT1,      0x00 },
    { ADS129X_REG_WCT2,      0x00 },
};

/* ============================================================
 * RLD Recording Mode
 * User-editable register values
 * ============================================================ */
static const rex_ads129x_reg_config_t rex_ads_rld_recording_config[] = {
    { ADS129X_REG_CONFIG1,
      ADS129X_CONFIG1_HR_HIGH_RES |
      ADS129X_CONFIG1_MULTIPLE_READBACK |
      ADS129X_CONFIG1_CLK_OUT_DISABLE |
      ADS129X_CONFIG1_DR_2KSPS },

    { ADS129X_REG_CONFIG2,
      ADS129X_CONFIG2_RESERVED_7_6 |
      ADS129X_CONFIG2_INT_TEST_DISABLE },

    { ADS129X_REG_CONFIG3,
      ADS129X_CONFIG3_REFBUF_ENABLE |
      ADS129X_CONFIG3_RESERVED_6 |
      ADS129X_CONFIG3_VREF_2V4 |
      ADS129X_CONFIG3_RLDREF_INTERNAL |
      ADS129X_CONFIG3_RLD_ENABLE },

    { ADS129X_REG_LOFF, 0x00 },

    { ADS129X_REG_CH1SET,
      ADS129X_CHSET_POWER_ON |
      ADS129X_CHSET_GAIN_8 |
      ADS129X_CHSET_RESERVED_0 |
      ADS129X_CHSET_MUX_NORMAL },

    { ADS129X_REG_CH2SET,
      ADS129X_CHSET_POWER_ON |
      ADS129X_CHSET_GAIN_8 |
      ADS129X_CHSET_RESERVED_0 |
      ADS129X_CHSET_MUX_NORMAL },

    { ADS129X_REG_CH3SET,
#if defined(CONFIG_EMG_BILATERAL)
      ADS129X_CHSET_POWER_ON |
      ADS129X_CHSET_GAIN_8 |
      ADS129X_CHSET_RESERVED_0 |
      ADS129X_CHSET_MUX_NORMAL
#else
      ADS129X_CHSET_POWER_DOWN |
      ADS129X_CHSET_GAIN_8 |
      ADS129X_CHSET_RESERVED_0 |
      ADS129X_CHSET_MUX_SHORTED
#endif
 },

    { ADS129X_REG_CH4SET,
#if defined(CONFIG_EMG_BILATERAL)
      ADS129X_CHSET_POWER_ON |
      ADS129X_CHSET_GAIN_8 |
      ADS129X_CHSET_RESERVED_0 |
      ADS129X_CHSET_MUX_NORMAL
#else
      ADS129X_CHSET_POWER_DOWN |
      ADS129X_CHSET_GAIN_8 |
      ADS129X_CHSET_RESERVED_0 |
      ADS129X_CHSET_MUX_SHORTED
#endif
 },

    { ADS129X_REG_RLD_SENSP,
      ADS129X_RLD_SENSP_RLD1P |
      ADS129X_RLD_SENSP_RLD2P },

    { ADS129X_REG_RLD_SENSN,
      ADS129X_RLD_SENSN_RLD1N |
      ADS129X_RLD_SENSN_RLD2N },

    { ADS129X_REG_LOFF_SENSP, 0x00 },
    { ADS129X_REG_LOFF_SENSN, 0x00 },
    { ADS129X_REG_LOFF_FLIP,  0x00 },
    { ADS129X_REG_GPIO,       0x0F },
    { ADS129X_REG_PACE,       0x00 },
    { ADS129X_REG_RESP,       ADS129X_RESP_RESERVED_1 },
    { ADS129X_REG_CONFIG4,    0x00 },
    { ADS129X_REG_WCT1,       0x00 },
    { ADS129X_REG_WCT2,       0x00 },
};

#define REX_ARRAY_SIZE(x)   (sizeof(x) / sizeof((x)[0]))

static inline const rex_ads129x_reg_config_t *
rex_ads129x_get_config(uint8_t mode, size_t *length)
{
    switch (mode) {
    case REX_ADS_MODE_NORMAL:
        *length = REX_ARRAY_SIZE(rex_ads_normal_config);
        return rex_ads_normal_config;

    case REX_ADS_MODE_TEST_SIGNAL:
        *length = REX_ARRAY_SIZE(rex_ads_test_signal_config);
        return rex_ads_test_signal_config;

    case REX_ADS_MODE_LEADOFF_CHECK:
        *length = REX_ARRAY_SIZE(rex_ads_leadoff_check_config);
        return rex_ads_leadoff_check_config;

    case REX_ADS_MODE_RLD_RECORDING:
        *length = REX_ARRAY_SIZE(rex_ads_rld_recording_config);
        return rex_ads_rld_recording_config;

    default:
        *length = REX_ARRAY_SIZE(rex_ads_normal_config);
        return rex_ads_normal_config;
    }
}

#endif /* REX_ADS1294_CONFIG_H */
```

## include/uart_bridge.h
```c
#pragma once

#include <zephyr/device.h>
#include <zephyr/kernel.h>
#include <zephyr/drivers/uart.h>
#include <zephyr/logging/log.h>

#define UART_HEADER_SIZE       2
#define UART_EMG_PAYLOAD_SIZE  8 + 8 // L/R EMG (TA and GM)
#define UART_FRAME_LEN         (UART_HEADER_SIZE + UART_EMG_PAYLOAD_SIZE)

extern const struct device *uart_dev;

/* UART TX queue */
extern struct k_msgq uart_tx_q;

int uart_bridge_init(void);
void uart_tx_kick(void);
```
